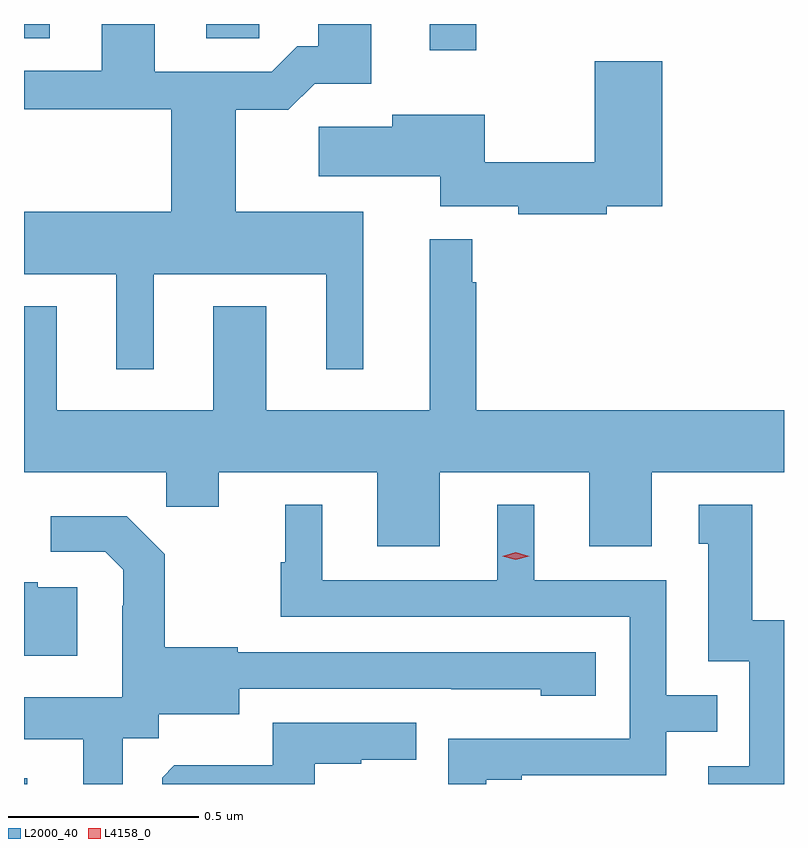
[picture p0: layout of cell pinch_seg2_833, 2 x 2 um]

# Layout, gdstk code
import gdstk
lib = gdstk.Library(unit=1e-6, precision=1e-09)
def R(c, l, rs):  # rectangles x0, y0, x1, y1
    for r in rs: c.add(gdstk.rectangle(r[:2], r[2:], *l))
def P(c, l, *ps):  # polygons
    for p in ps: c.add(gdstk.Polygon(p, *l))
L2000_40 = (2000, 40)
L4158_0 = (4158, 0)

pinch_seg2_833 = lib.new_cell('pinch_seg2_833')
R(pinch_seg2_833, L2000_40, [(676.211,614.848,676.219,614.863), (677.279,616.779,677.401,616.848), (676.211,616.81,676.279,616.848), (676.691,616.81,676.83,616.848)])
P(pinch_seg2_833, L2000_40, [(676.552,616.19),(677.006,616.19),(677.006,615.939),(677.104,615.939),(677.104,616.354),(676.768,616.354),(676.768,616.622),(676.907,616.622),(676.976,616.691),(677.125,616.691),(677.125,616.848),(676.985,616.848),(676.985,616.789),(676.93,616.789),(676.863,616.722),(676.555,616.722),(676.555,616.848),(676.415,616.848),(676.415,616.725),(676.211,616.725),(676.211,616.624),(676.598,616.624),(676.598,616.354),(676.211,616.354),(676.211,616.19),(676.454,616.19),(676.454,615.939),(676.552,615.939)],
  [(677.744,616.368),(677.891,616.368),(677.891,616.75),(677.713,616.75),(677.713,616.484),(677.424,616.484),(677.424,616.609),(677.18,616.609),(677.18,616.577),(676.986,616.577),(676.986,616.448),(677.306,616.448),(677.306,616.368),(677.512,616.368),(677.512,616.348),(677.744,616.348)],
  [(677.305,615.668),(677.699,615.668),(677.699,615.474),(677.863,615.474),(677.863,615.668),(678.211,615.668),(678.211,615.832),(677.401,615.832),(677.401,616.169),(677.39,616.169),(677.39,616.282),(677.279,616.282),(677.279,615.832),(676.849,615.832),(676.849,616.105),(676.709,616.105),(676.709,615.832),(676.297,615.832),(676.297,616.105),(676.211,616.105),(676.211,615.668),(676.585,615.668),(676.585,615.578),(676.723,615.578),(676.723,615.668),(677.141,615.668),(677.141,615.474),(677.305,615.474)],
  [(678.211,615.279),(678.127,615.279),(678.127,615.583),(677.987,615.583),(677.987,615.48),(678.011,615.48),(678.011,615.171),(678.12,615.171),(678.12,614.895),(678.011,614.895),(678.011,614.848),(678.211,614.848)],
  [(677.427,614.859),(677.521,614.859),(677.521,614.871),(677.901,614.871),(677.901,614.985),(678.035,614.985),(678.035,615.081),(677.901,615.081),(677.901,615.384),(677.554,615.384),(677.554,615.583),(677.456,615.583),(677.456,615.384),(676.996,615.384),(676.996,615.583),(676.898,615.583),(676.898,615.432),(676.887,615.432),(676.887,615.288),(677.805,615.288),(677.805,614.967),(677.328,614.967),(677.328,614.848),(677.427,614.848)],
  [(676.471,614.968),(676.566,614.968),(676.566,615.032),(676.777,615.032),(676.777,615.099),(677.335,615.099),(677.335,615.098),(677.571,615.098),(677.571,615.08),(677.716,615.08),(677.716,615.195),(676.773,615.195),(676.773,615.208),(676.581,615.208),(676.581,615.453),(676.481,615.553),(676.281,615.553),(676.281,615.459),(676.425,615.459),(676.472,615.412),(676.472,615.317),(676.47,615.317),(676.47,615.076),(676.211,615.076),(676.211,614.966),(676.367,614.966),(676.367,614.848),(676.471,614.848)],
  [(676.351,615.366),(676.247,615.366),(676.247,615.379),(676.211,615.379),(676.211,615.186),(676.351,615.186)],
  [(676.976,614.901),(677.099,614.901),(677.099,614.912),(677.243,614.912),(677.243,615.009),(676.866,615.009),(676.866,614.897),(676.607,614.897),(676.575,614.865),(676.575,614.848),(676.976,614.848)])
P(pinch_seg2_833, L4158_0, [(677.505,615.438),(677.469,615.448),(677.469,615.448),(677.469,615.448),(677.505,615.458),(677.541,615.448),(677.541,615.448),(677.541,615.448)])

lib.write_gds('pinch_seg2_833.gds')
